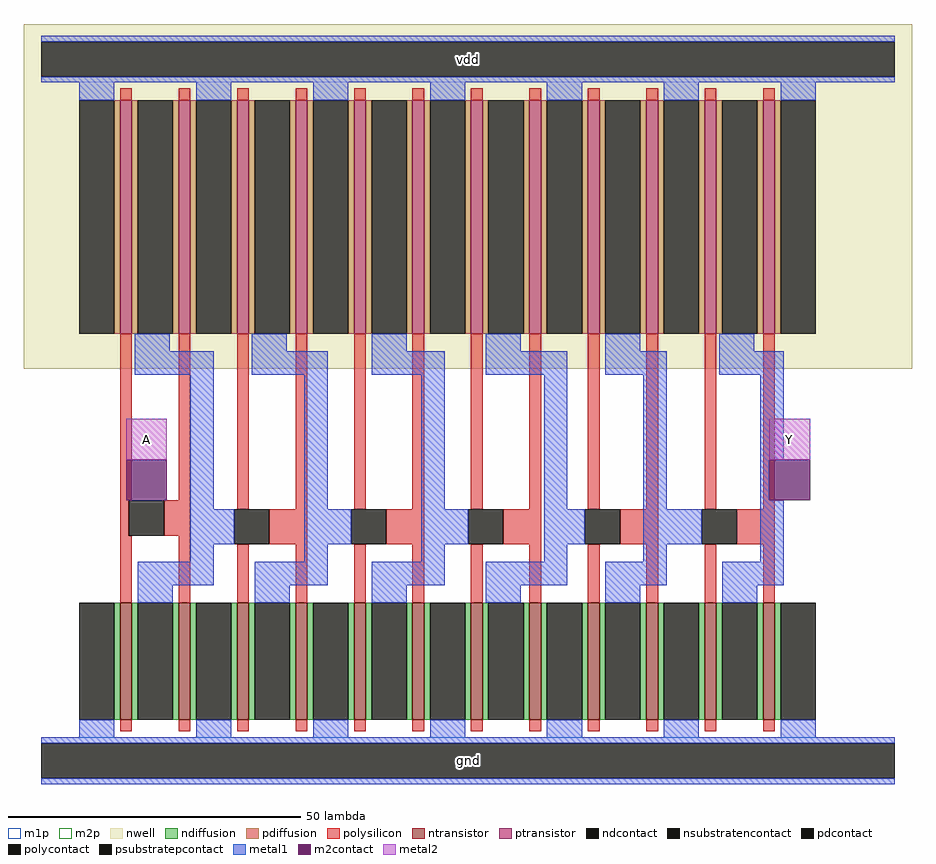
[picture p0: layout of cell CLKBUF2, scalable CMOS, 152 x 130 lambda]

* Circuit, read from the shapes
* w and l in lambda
.subckt CLKBUF2 A Y vdd gnd
M1 n1 A gnd gnd nfet w=20 l=2 m=2
M2 n2 n1 gnd gnd nfet w=20 l=2 m=2
M3 n3 n2 gnd gnd nfet w=20 l=2 m=2
M4 n4 n3 gnd gnd nfet w=20 l=2 m=2
M5 n5 n4 gnd gnd nfet w=20 l=2 m=2
M6 Y n5 gnd gnd nfet w=20 l=2 m=2
M7 n1 A vdd vdd pfet w=40 l=2 m=2
M8 n2 n1 vdd vdd pfet w=40 l=2 m=2
M9 n3 n2 vdd vdd pfet w=40 l=2 m=2
M10 n4 n3 vdd vdd pfet w=40 l=2 m=2
M11 n5 n4 vdd vdd pfet w=40 l=2 m=2
M12 Y n5 vdd vdd pfet w=40 l=2 m=2
.ends

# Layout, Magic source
magic
tech scmos
magscale 1 2
<< nwell >>
rect -12 134 292 252
<< ntransistor >>
rect 21 14 25 54
rect 41 14 45 54
rect 61 14 65 54
rect 81 14 85 54
rect 101 14 105 54
rect 121 14 125 54
rect 141 14 145 54
rect 161 14 165 54
rect 181 14 185 54
rect 201 14 205 54
rect 221 14 225 54
rect 241 14 245 54
<< ptransistor >>
rect 21 146 25 226
rect 41 146 45 226
rect 61 146 65 226
rect 81 146 85 226
rect 101 146 105 226
rect 121 146 125 226
rect 141 146 145 226
rect 161 146 165 226
rect 181 146 185 226
rect 201 146 205 226
rect 221 146 225 226
rect 241 146 245 226
<< ndiffusion >>
rect 19 14 21 54
rect 25 14 27 54
rect 39 14 41 54
rect 45 14 47 54
rect 59 14 61 54
rect 65 14 67 54
rect 79 14 81 54
rect 85 14 87 54
rect 99 14 101 54
rect 105 14 107 54
rect 119 14 121 54
rect 125 14 127 54
rect 139 14 141 54
rect 145 14 147 54
rect 159 14 161 54
rect 165 14 167 54
rect 179 14 181 54
rect 185 14 187 54
rect 199 14 201 54
rect 205 14 207 54
rect 219 14 221 54
rect 225 14 227 54
rect 239 14 241 54
rect 245 14 247 54
<< pdiffusion >>
rect 19 146 21 226
rect 25 146 27 226
rect 39 146 41 226
rect 45 146 47 226
rect 59 146 61 226
rect 65 146 67 226
rect 79 146 81 226
rect 85 146 87 226
rect 99 146 101 226
rect 105 146 107 226
rect 119 146 121 226
rect 125 146 127 226
rect 139 146 141 226
rect 145 146 147 226
rect 159 146 161 226
rect 165 146 167 226
rect 179 146 181 226
rect 185 146 187 226
rect 199 146 201 226
rect 205 146 207 226
rect 219 146 221 226
rect 225 146 227 226
rect 239 146 241 226
rect 245 146 247 226
<< ndcontact >>
rect 7 14 19 54
rect 27 14 39 54
rect 47 14 59 54
rect 67 14 79 54
rect 87 14 99 54
rect 107 14 119 54
rect 127 14 139 54
rect 147 14 159 54
rect 167 14 179 54
rect 187 14 199 54
rect 207 14 219 54
rect 227 14 239 54
rect 247 14 259 54
<< pdcontact >>
rect 7 146 19 226
rect 27 146 39 226
rect 47 146 59 226
rect 67 146 79 226
rect 87 146 99 226
rect 107 146 119 226
rect 127 146 139 226
rect 147 146 159 226
rect 167 146 179 226
rect 187 146 199 226
rect 207 146 219 226
rect 227 146 239 226
rect 247 146 259 226
<< psubstratepcontact >>
rect -6 -6 286 6
<< nsubstratencontact >>
rect -6 234 286 246
<< polysilicon >>
rect 21 226 25 230
rect 41 226 45 230
rect 61 226 65 230
rect 81 226 85 230
rect 101 226 105 230
rect 121 226 125 230
rect 141 226 145 230
rect 161 226 165 230
rect 181 226 185 230
rect 201 226 205 230
rect 221 226 225 230
rect 241 226 245 230
rect 21 89 25 146
rect 41 89 45 146
rect 21 77 24 89
rect 36 77 45 89
rect 61 86 65 146
rect 81 86 85 146
rect 101 86 105 146
rect 121 86 125 146
rect 141 86 145 146
rect 161 86 165 146
rect 181 86 185 146
rect 201 86 205 146
rect 221 86 225 146
rect 241 86 245 146
rect 21 54 25 77
rect 41 54 45 77
rect 72 74 85 86
rect 112 74 125 86
rect 152 74 165 86
rect 192 74 205 86
rect 232 74 245 86
rect 61 54 65 74
rect 81 54 85 74
rect 101 54 105 74
rect 121 54 125 74
rect 141 54 145 74
rect 161 54 165 74
rect 181 54 185 74
rect 201 54 205 74
rect 221 54 225 74
rect 241 54 245 74
rect 21 10 25 14
rect 41 10 45 14
rect 61 10 65 14
rect 81 10 85 14
rect 101 10 105 14
rect 121 10 125 14
rect 141 10 145 14
rect 161 10 165 14
rect 181 10 185 14
rect 201 10 205 14
rect 221 10 225 14
rect 241 10 245 14
<< polycontact >>
rect 24 77 36 89
rect 60 74 72 86
rect 100 74 112 86
rect 140 74 152 86
rect 180 74 192 86
rect 220 74 232 86
<< metal1 >>
rect -6 246 286 248
rect -6 232 286 234
rect 7 226 19 232
rect 47 226 59 232
rect 87 226 99 232
rect 127 226 139 232
rect 167 226 179 232
rect 207 226 219 232
rect 247 226 259 232
rect 26 140 38 146
rect 66 140 78 146
rect 107 140 119 146
rect 146 140 158 146
rect 187 140 199 146
rect 226 140 238 146
rect 26 132 53 140
rect 66 132 92 140
rect 107 132 132 140
rect 146 132 174 140
rect 187 132 208 140
rect 226 132 248 140
rect 45 86 53 132
rect 84 86 92 132
rect 124 86 132 132
rect 166 86 174 132
rect 200 86 208 132
rect 240 103 248 132
rect 240 89 243 103
rect 45 74 60 86
rect 84 74 100 86
rect 124 74 140 86
rect 166 74 180 86
rect 200 74 220 86
rect 45 68 53 74
rect 84 68 92 74
rect 124 68 132 74
rect 166 68 174 74
rect 200 68 208 74
rect 240 68 248 89
rect 27 60 53 68
rect 67 60 92 68
rect 107 60 132 68
rect 146 60 174 68
rect 187 60 208 68
rect 227 60 248 68
rect 27 54 39 60
rect 67 54 79 60
rect 107 54 119 60
rect 146 54 158 60
rect 187 54 199 60
rect 227 54 239 60
rect 7 8 19 14
rect 47 8 59 14
rect 87 8 99 14
rect 127 8 139 14
rect 167 8 179 14
rect 207 8 219 14
rect 247 8 259 14
rect -6 6 286 8
rect -6 -8 286 -6
<< m2contact >>
rect 23 89 37 103
rect 243 89 257 103
<< metal2 >>
rect 23 103 37 117
rect 243 103 257 117
<< m1p >>
rect -6 232 286 248
rect -6 -8 286 8
<< m2p >>
rect 23 103 37 117
rect 243 103 257 117
<< labels >>
rlabel metal1 -6 -8 286 8 0 gnd
port 3 nsew ground bidirectional abutment
rlabel metal1 -6 232 286 248 0 vdd
port 2 nsew power bidirectional abutment
rlabel metal2 23 103 37 117 0 A
port 0 nsew signal input
rlabel metal2 243 103 257 117 0 Y
port 1 nsew signal output
<< properties >>
string FIXED_BBOX 0 0 280 240
string LEFclass CORE
string LEFsite core
string LEFsymmetry X Y
<< end >>
